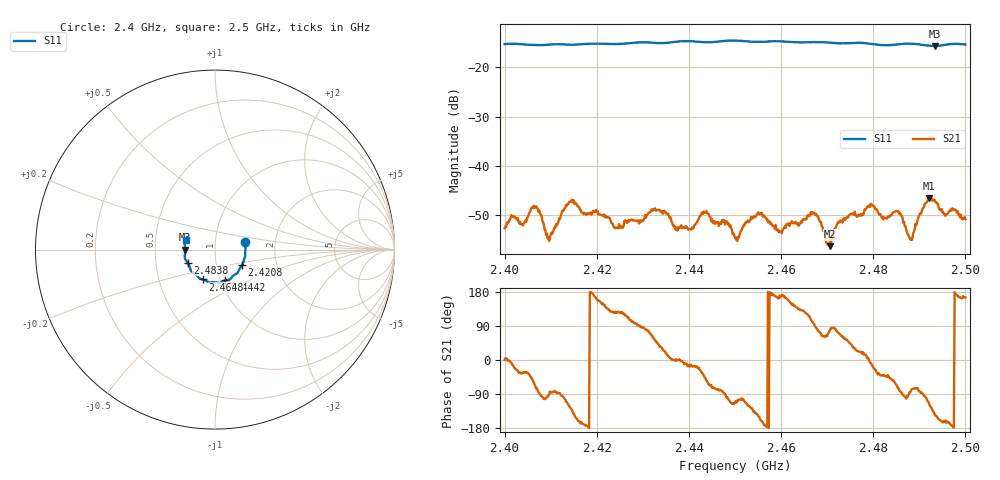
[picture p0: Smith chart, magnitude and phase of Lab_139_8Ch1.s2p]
# Hz S RI R 50
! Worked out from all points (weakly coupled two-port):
!   601 points, 2.4 GHz to 2.5 GHz, reference 50 ohm
!   highest |S21| = -46.55 dB at 2.4922 GHz (marker M1); lowest = -56.4 dB at 2.4707 GHz (marker M2)
!   lowest |S11| = -15.6 dB at 2.4933 GHz (marker M3), VSWR 1.40, Z = 35.8 + j0.0408 ohm
!   |S11| at or under -10 dB: start of sweep to end of sweep
!   S12 and S22 are empty: the file has one direction only
!   S11 on the Smith chart (normalised r, x): 2.4 GHz: 1.40, +0.12; 2.4208 GHz: 1.33, -0.24; 2.4442 GHz: 1.05, -0.37; 2.4648 GHz: 0.83, -0.28; 2.4838 GHz: 0.73, -0.11; 2.5 GHz: 0.72, +0.08
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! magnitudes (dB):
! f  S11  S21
! 2.4 GHz  -15.2  -52.7
! 2.4065 GHz  -15.4  -48.7
! 2.4098 GHz  -15.3  -54.7
! 2.4142 GHz  -15.4  -47.4
! 2.4167 GHz  -15.3  -49.4
! 2.4208 GHz  -15.2  -49.9
! 2.4333 GHz  -15.0  -49.0
! 2.4375 GHz  -14.7  -53.2
! 2.4442 GHz  -14.9  -49.8
! 2.45 GHz  -14.5  -54.7
! 2.4553 GHz  -14.8  -49.9
! 2.4597 GHz  -14.7  -53.4
! 2.4648 GHz  -14.9  -50.9
! 2.4667 GHz  -14.8  -49.8
! 2.4707 GHz  -15.0  -56.4
! 2.4792 GHz  -15.2  -48.0
! 2.4833 GHz  -15.5  -50.4
! 2.4838 GHz  -15.4  -50.0
! 2.4882 GHz  -15.2  -54.9
! 2.4922 GHz  -15.6  -46.5
! 2.4933 GHz  -15.6  -46.9
! 2.5 GHz  -15.3  -50.8
